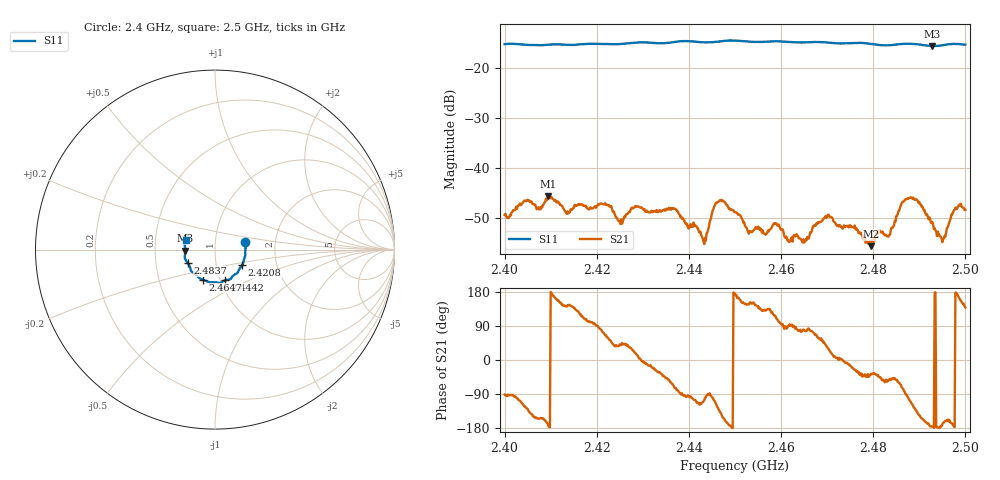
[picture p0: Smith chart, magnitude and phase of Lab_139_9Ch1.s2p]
# Hz S RI R 50
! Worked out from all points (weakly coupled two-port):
!   601 points, 2.4 GHz to 2.5 GHz, reference 50 ohm
!   highest |S21| = -45.64 dB at 2.4095 GHz (marker M1); lowest = -55.7 dB at 2.4795 GHz (marker M2)
!   lowest |S11| = -15.6 dB at 2.4928 GHz (marker M3), VSWR 1.40, Z = 35.8 - j0.372 ohm
!   |S11| at or under -10 dB: start of sweep to end of sweep
!   S12 and S22 are empty: the file has one direction only
!   S11 on the Smith chart (normalised r, x): 2.4 GHz: 1.40, +0.12; 2.4208 GHz: 1.33, -0.24; 2.4442 GHz: 1.05, -0.37; 2.4647 GHz: 0.83, -0.29; 2.4837 GHz: 0.73, -0.11; 2.5 GHz: 0.72, +0.08
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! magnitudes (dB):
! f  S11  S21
! 2.4 GHz  -15.2  -49.4
! 2.4095 GHz  -15.3  -45.6
! 2.4167 GHz  -15.2  -47.3
! 2.4208 GHz  -15.2  -47.1
! 2.4252 GHz  -15.2  -51.2
! 2.4333 GHz  -15.1  -48.9
! 2.4442 GHz  -14.9  -52.4
! 2.4463 GHz  -14.7  -46.8
! 2.45 GHz  -14.5  -48.9
! 2.4532 GHz  -14.7  -52.6
! 2.459 GHz  -14.7  -51.1
! 2.4647 GHz  -14.9  -54.9
! 2.4667 GHz  -14.8  -52.6
! 2.4705 GHz  -15.0  -49.7
! 2.4795 GHz  -15.2  -55.7
! 2.4833 GHz  -15.5  -53.7
! 2.4837 GHz  -15.4  -53.3
! 2.4878 GHz  -15.1  -46.0
! 2.4928 GHz  -15.6  -50.8
! 2.4952 GHz  -15.4  -54.2
! 2.4975 GHz  -15.2  -48.5
! 2.5 GHz  -15.3  -48.4
